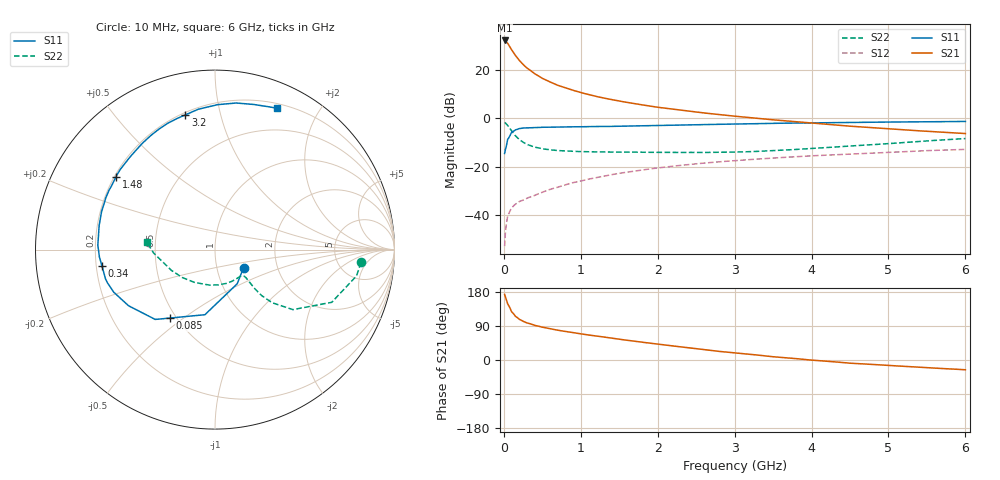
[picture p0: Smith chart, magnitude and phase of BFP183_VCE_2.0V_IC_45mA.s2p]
! Infineon Technologies  Discrete & RF Semiconductors
! BFP183
! VCE = 2.0 V,  IC =  45 mA
! Common Emitter S-Parameters:  Jan 2016
# GHz  S  MA  R  50
!  f  S11  S21  S12  S22
! GHz  MAG  ANG  MAG  ANG  MAG  ANG  MAG  ANG
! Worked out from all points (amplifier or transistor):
!   210 points, 10 MHz to 6 GHz, reference 50 ohm
!   highest |S21| = 32.1 dB at 10 MHz (marker M1)
!   |S21| within 3 dB of that: start of sweep to 84.01 MHz
!   unconditionally stable (mu >= 1): start of sweep to 19.5 MHz; 272.9 MHz to end of sweep
!   at 185 MHz: K = 0.80, MSG = 29.6 dB, |S12| = -34.7 dB
!   at 1.52 GHz: K = 1.49, MAG = 10.6 dB, |S12| = -22.6 dB
!   at 6 GHz: K = 1.17, MAG = 0.8 dB, |S12| = -12.8 dB
!   S11 on the Smith chart (normalised r, x): 10 MHz: 1.35, -0.28; 85 MHz: 0.46, -0.45; 340 MHz: 0.22, -0.07; 1.48 GHz: 0.21, +0.32; 3.2 GHz: 0.21, +0.78; 6 GHz: 0.25, +1.51
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0.01  0.1882 -32.2  40.27 173.0  0.0023 78.0  0.8164 -5.0
0.02  0.2272 -57.0  39.72 166.4  0.0043 68.3  0.8023 -10.5
0.05  0.3671 -98.8  35.18 148.0  0.0096 66.3  0.7138 -24.3
0.085  0.4558 -123.3  28.34 135.0  0.0127 55.0  0.5943 -32.8
0.1  0.5122 -130.6  26.02 127.5  0.0141 51.7  0.5483 -37.6
0.15  0.5744 -147.0  19.76 115.4  0.0169 48.6  0.4354 -42.9
0.2  0.6117 -157.1  15.68 107.5  0.0191 47.9  0.3649 -44.6
0.26  0.6315 -165.0  12.45 101.3  0.0209 49.1  0.314 -44.5
0.3  0.6331 -169.1  10.88 97.9  0.0225 50.4  0.2894 -44.0
0.34  0.6368 -172.0  9.838 95.7  0.0237 51.7  0.2753 -43.6
0.4  0.6453 -176.3  8.31 91.4  0.0256 53.3  0.2541 -42.8
0.5  0.6533 177.8  6.667 86.6  0.0299 55.5  0.2348 -42.2
0.6  0.6543 172.8  5.615 82.4  0.0341 57.5  0.2233 -42.1
0.8  0.6609 165.3  4.226 75.3  0.0424 59.8  0.2116 -43.5
1.02  0.6688 157.3  3.325 68.4  0.0516 60.4  0.2049 -46.8
1.48  0.6849 143.6  2.296 55.4  0.0722 58.8  0.2005 -56.5
2.02  0.7064 128.8  1.671 41.3  0.0952 54.3  0.1987 -71.2
3.1  0.7641 104.3  1.067 16.9  0.1371 43.7  0.2023 -108.3
3.2  0.7687 102.4  1.031 15.0  0.1406 42.7  0.2045 -112.0
4.1  0.8104 87.4  0.774 -1.7  0.1707 33.6  0.2438 -142.7
5.1  0.837 75.0  0.59 -15.5  0.2005 25.0  0.3074 -168.9
6  0.8602 66.2  0.484 -25.8  0.2281 15.6  0.3819 174.0
